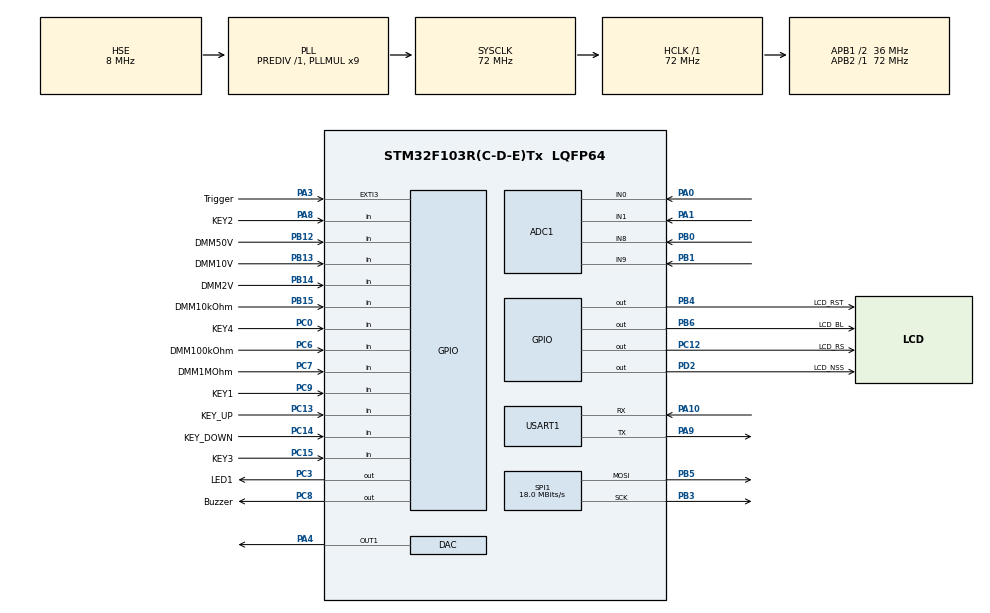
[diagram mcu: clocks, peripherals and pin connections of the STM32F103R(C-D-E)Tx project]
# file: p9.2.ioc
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ADC1.Channel-0\#ChannelRegularConversion=ADC_CHANNEL_1
ADC1.Channel-1\#ChannelInjectedConversion=ADC_CHANNEL_9
ADC1.Channel-2\#ChannelInjectedConversion=ADC_CHANNEL_VREFINT
ADC1.Channel-3\#ChannelInjectedConversion=ADC_CHANNEL_8
ADC1.Channel-4\#ChannelInjectedConversion=ADC_CHANNEL_0
ADC1.EnableInjectedConversion=ENABLE
ADC1.ExternalTrigConv=ADC_EXTERNALTRIGCONV_T3_TRGO
ADC1.ExternalTrigInjecConv=ADC_EXTERNALTRIGINJECCONV_T2_TRGO
ADC1.InjNumberOfConversion=4
ADC1.InjectedOffset-1\#ChannelInjectedConversion=0
ADC1.InjectedOffset-2\#ChannelInjectedConversion=0
ADC1.InjectedOffset-3\#ChannelInjectedConversion=0
ADC1.InjectedOffset-4\#ChannelInjectedConversion=0
ADC1.InjectedRank-1\#ChannelInjectedConversion=1
ADC1.InjectedRank-2\#ChannelInjectedConversion=2
ADC1.InjectedRank-3\#ChannelInjectedConversion=3
ADC1.InjectedRank-4\#ChannelInjectedConversion=4
ADC1.NbrOfConversionFlag=1
ADC1.Rank-0\#ChannelRegularConversion=1
ADC1.SamplingTime-0\#ChannelRegularConversion=ADC_SAMPLETIME_1CYCLE_5
ADC1.SamplingTime-1\#ChannelInjectedConversion=ADC_SAMPLETIME_1CYCLE_5
ADC1.SamplingTime-2\#ChannelInjectedConversion=ADC_SAMPLETIME_239CYCLES_5
ADC1.SamplingTime-3\#ChannelInjectedConversion=ADC_SAMPLETIME_1CYCLE_5
ADC1.SamplingTime-4\#ChannelInjectedConversion=ADC_SAMPLETIME_13CYCLES_5
ADC1.master=1
DAC.DAC_OutputBuffer=DAC_OUTPUTBUFFER_DISABLE
DAC.DAC_Trigger=DAC_TRIGGER_T5_TRGO
Dma.ADC1.1.Direction=DMA_PERIPH_TO_MEMORY
Dma.ADC1.1.Instance=DMA1_Channel1
Dma.ADC1.1.MemDataAlignment=DMA_MDATAALIGN_HALFWORD
Dma.ADC1.1.MemInc=DMA_MINC_ENABLE
Dma.ADC1.1.Mode=DMA_NORMAL
Dma.ADC1.1.PeriphDataAlignment=DMA_PDATAALIGN_HALFWORD
Dma.ADC1.1.PeriphInc=DMA_PINC_DISABLE
Dma.ADC1.1.Priority=DMA_PRIORITY_LOW
Dma.DAC_CH1.2.Direction=DMA_MEMORY_TO_PERIPH
Dma.DAC_CH1.2.Instance=DMA2_Channel3
Dma.DAC_CH1.2.MemDataAlignment=DMA_MDATAALIGN_HALFWORD
Dma.DAC_CH1.2.MemInc=DMA_MINC_ENABLE
Dma.DAC_CH1.2.Mode=DMA_CIRCULAR
Dma.DAC_CH1.2.PeriphDataAlignment=DMA_PDATAALIGN_HALFWORD
Dma.DAC_CH1.2.PeriphInc=DMA_PINC_DISABLE
Dma.DAC_CH1.2.Priority=DMA_PRIORITY_LOW
Dma.Request0=SPI1_TX
Dma.Request1=ADC1
Dma.Request2=DAC_CH1
Dma.SPI1_TX.0.Direction=DMA_MEMORY_TO_PERIPH
Dma.SPI1_TX.0.Instance=DMA1_Channel3
Dma.SPI1_TX.0.MemDataAlignment=DMA_MDATAALIGN_BYTE
Dma.SPI1_TX.0.MemInc=DMA_MINC_ENABLE
Dma.SPI1_TX.0.Mode=DMA_NORMAL
Dma.SPI1_TX.0.PeriphDataAlignment=DMA_PDATAALIGN_BYTE
Dma.SPI1_TX.0.PeriphInc=DMA_PINC_DISABLE
Dma.SPI1_TX.0.Priority=DMA_PRIORITY_LOW
Mcu.Family=STM32F1
Mcu.Name=STM32F103R(C-D-E)Tx
Mcu.Package=LQFP64
NVIC.ADC1_2_IRQn=true\:15\:0\:true\:false\:true\:true\:true\:true
NVIC.DMA1_Channel1_IRQn=true\:6\:0\:true\:false\:true\:false\:true\:true
NVIC.DMA1_Channel3_IRQn=true\:6\:0\:true\:false\:true\:false\:true\:true
NVIC.DMA2_Channel3_IRQn=true\:0\:0\:false\:false\:true\:false\:true\:true
NVIC.EXTI3_IRQn=true\:5\:0\:true\:false\:true\:true\:true\:true
NVIC.PriorityGroup=NVIC_PRIORITYGROUP_4
NVIC.TIM6_IRQn=true\:15\:0\:true\:false\:true\:false\:true\:true
NVIC.TimeBase=TIM6_IRQn
NVIC.TimeBaseIP=TIM6
PA0-WKUP.Signal=ADCx_IN0
PA1.Signal=ADCx_IN1
PA10.Mode=Asynchronous
PA10.Signal=USART1_RX
PA13.Mode=Serial_Wire
PA13.Signal=SYS_JTMS-SWDIO
PA14.Mode=Serial_Wire
PA14.Signal=SYS_JTCK-SWCLK
PA3.GPIO_Label=Trigger
PA3.Signal=GPXTI3
PA4.Signal=COMP_DAC1_group
PA8.GPIO_Label=KEY2
PA8.GPIO_PuPd=GPIO_PULLUP
PA8.Signal=GPIO_Input
PA9.Mode=Asynchronous
PA9.Signal=USART1_TX
PB0.Signal=ADCx_IN8
PB1.Signal=ADCx_IN9
PB12.GPIO_Label=DMM50V
PB12.GPIO_Mode=GPIO_MODE_INPUT
PB12.GPIO_PuPd=GPIO_PULLDOWN
PB12.Signal=GPIO_Input
PB13.GPIO_Label=DMM10V
PB13.GPIO_Mode=GPIO_MODE_INPUT
PB13.GPIO_PuPd=GPIO_PULLDOWN
PB13.Signal=GPIO_Input
PB14.GPIO_Label=DMM2V
PB14.GPIO_Mode=GPIO_MODE_INPUT
PB14.GPIO_PuPd=GPIO_PULLDOWN
PB14.Signal=GPIO_Input
PB15.GPIO_Label=DMM10kOhm
PB15.GPIO_Mode=GPIO_MODE_INPUT
PB15.GPIO_PuPd=GPIO_PULLDOWN
PB15.Signal=GPIO_Input
PB3.Mode=TX_Only_Simplex_Unidirect_Master
PB3.Signal=SPI1_SCK
PB4.GPIO_Label=LCD_RST
PB4.Signal=GPIO_Output
PB5.Mode=TX_Only_Simplex_Unidirect_Master
PB5.Signal=SPI1_MOSI
PB6.GPIO_Label=LCD_BL
PB6.Signal=GPIO_Output
PC0.GPIO_Label=KEY4
PC0.GPIO_PuPd=GPIO_PULLUP
PC0.Signal=GPIO_Input
PC12.GPIO_Label=LCD_RS
PC12.Signal=GPIO_Output
PC13-TAMPER-RTC.GPIO_Label=KEY_UP
PC13-TAMPER-RTC.GPIO_PuPd=GPIO_PULLUP
PC13-TAMPER-RTC.Signal=GPIO_Input
PC14-OSC32_IN.GPIO_Label=KEY_DOWN
PC14-OSC32_IN.GPIO_PuPd=GPIO_PULLUP
PC14-OSC32_IN.Signal=GPIO_Input
PC15-OSC32_OUT.GPIO_Label=KEY3
PC15-OSC32_OUT.GPIO_PuPd=GPIO_PULLUP
PC15-OSC32_OUT.Signal=GPIO_Input
PC3.GPIO_Label=LED1
PC3.Signal=GPIO_Output
PC6.GPIO_Label=DMM100kOhm
PC6.GPIO_Mode=GPIO_MODE_INPUT
PC6.GPIO_PuPd=GPIO_PULLDOWN
PC6.Signal=GPIO_Input
PC7.GPIO_Label=DMM1MOhm
PC7.GPIO_Mode=GPIO_MODE_INPUT
PC7.GPIO_PuPd=GPIO_PULLDOWN
PC7.Signal=GPIO_Input
PC8.GPIO_Label=Buzzer
PC8.Signal=GPIO_Output
PC9.GPIO_Label=KEY1
PC9.GPIO_PuPd=GPIO_PULLUP
PC9.Signal=GPIO_Input
PD0-OSC_IN.Mode=HSE-External-Oscillator
PD0-OSC_IN.Signal=RCC_OSC_IN
PD1-OSC_OUT.Mode=HSE-External-Oscillator
PD1-OSC_OUT.Signal=RCC_OSC_OUT
PD2.GPIO_Label=LCD_NSS
PD2.PinState=GPIO_PIN_SET
PD2.Signal=GPIO_Output
ProjectManager.HeapSize=0x200
ProjectManager.StackSize=0x400
ProjectManager.TargetToolchain=STM32CubeIDE
RCC.ADCPresc=RCC_ADCPCLK2_DIV6
RCC.AHBFreq_Value=72000000
RCC.APB1CLKDivider=RCC_HCLK_DIV2
RCC.APB1Freq_Value=36000000
RCC.APB1TimFreq_Value=72000000
RCC.APB2Freq_Value=72000000
RCC.APB2TimFreq_Value=72000000
RCC.HCLKFreq_Value=72000000
RCC.PLLMUL=RCC_PLL_MUL9
RCC.PLLSourceVirtual=RCC_PLLSOURCE_HSE
RCC.SYSCLKFreq_VALUE=72000000
RCC.SYSCLKSource=RCC_SYSCLKSOURCE_PLLCLK
RCC.USBFreq_Value=72000000
SH.ADCx_IN0.0=ADC1_IN0,IN0
SH.ADCx_IN1.0=ADC1_IN1,IN1
SH.ADCx_IN8.0=ADC1_IN8,IN8
SH.ADCx_IN9.0=ADC1_IN9,IN9
SH.COMP_DAC1_group.0=DAC_OUT1,DAC_OUT1
SPI1.BaudRatePrescaler=SPI_BAUDRATEPRESCALER_4
SPI1.CalculateBaudRate=18.0 MBits/s
SPI1.Direction=SPI_DIRECTION_2LINES
SPI1.Mode=SPI_MODE_MASTER
SPI1.VirtualType=VM_MASTER
TIM2.Period=999
TIM2.Prescaler=7199
TIM2.TIM_MasterOutputTrigger=TIM_TRGO_UPDATE
TIM3.AutoReloadPreload=TIM_AUTORELOAD_PRELOAD_ENABLE
TIM3.Period=561
TIM3.Prescaler=0
TIM3.TIM_MasterOutputTrigger=TIM_TRGO_UPDATE
TIM5.AutoReloadPreload=TIM_AUTORELOAD_PRELOAD_ENABLE
TIM5.Period=1
TIM5.Prescaler=71
TIM5.TIM_MasterOutputTrigger=TIM_TRGO_UPDATE
USART1.VirtualMode=VM_ASYNC
VP_ADC1_Vref_Input.Mode=IN-Vrefint
VP_SYS_VS_tim6.Mode=TIM6
VP_TIM2_VS_ClockSourceINT.Mode=Internal
VP_TIM3_VS_ClockSourceINT.Mode=Internal
VP_TIM5_VS_ClockSourceINT.Mode=Internal
board=custom

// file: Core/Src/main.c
/* USER CODE BEGIN Header */
/**
  ******************************************************************************
  * @file           : main.c
  * @brief          : Main program body
  ******************************************************************************
  * @attention
  *
  * Copyright (c) 2026 STMicroelectronics.
  * All rights reserved.
  *
  * This software is licensed under terms that can be found in the LICENSE file
  * in the root directory of this software component.
  * If no LICENSE file comes with this software, it is provided AS-IS.
  *
  ******************************************************************************
  */
/* USER CODE END Header */
#include "main.h"

/* USER CODE BEGIN Includes */
#include "FreeRTOS.h"
#include "task.h"
#include "key_task.h"
#include "buzzer_task.h"
#include "lcd_task.h"
#include "led_task.h"
#include "dmm.h"
#include "waveform_capture.h"
#include "waveform_generator.h"
/* USER CODE END Includes */

ADC_HandleTypeDef hadc1;
DMA_HandleTypeDef hdma_adc1;

DAC_HandleTypeDef hdac;
DMA_HandleTypeDef hdma_dac_ch1;

SPI_HandleTypeDef hspi1;
DMA_HandleTypeDef hdma_spi1_tx;

TIM_HandleTypeDef htim2;
TIM_HandleTypeDef htim3;
TIM_HandleTypeDef htim5;

UART_HandleTypeDef huart1;

void SystemClock_Config(void);
static void MX_GPIO_Init(void);
static void MX_DMA_Init(void);
static void MX_USART1_UART_Init(void);
static void MX_SPI1_Init(void);
static void MX_ADC1_Init(void);
static void MX_TIM2_Init(void);
static void MX_TIM3_Init(void);
static void MX_DAC_Init(void);
static void MX_TIM5_Init(void);

int main(void)
{

  /* MCU Configuration--------------------------------------------------------*/

  /* Reset of all peripherals, Initializes the Flash interface and the Systick. */
  HAL_Init();

  /* Configure the system clock */
  SystemClock_Config();

  /* Initialize all configured peripherals */
  MX_GPIO_Init();
  MX_DMA_Init();
  MX_USART1_UART_Init();
  MX_SPI1_Init();
  MX_ADC1_Init();
  MX_TIM2_Init();
  MX_TIM3_Init();
  MX_DAC_Init();
  MX_TIM5_Init();
  /* USER CODE BEGIN 2 */
  Buzzer_Init();
  vLCDTaskInit();
  vDMMInit();
  WaveformCapture_Init();
  WaveformGenerator_Init(); // 对波形发生器进行初始化

  xTaskCreate(vKeyTask, "Key", 128, NULL, 3, NULL);
  xTaskCreate(vBuzzerTask, "Buzzer", 128, NULL, 1, NULL);
  xTaskCreate(vLCDTask, "LCD", 256, NULL, 1, NULL);
  xTaskCreate(vWaveformTask, "Waveform", 128, NULL, 2, NULL);
  xTaskCreate(vLEDTask, "LED", 128, NULL, 0, NULL);
  vTaskStartScheduler();

  /* USER CODE END 2 */

  /* Infinite loop */
  while (1)
  {

  }
}

void SystemClock_Config(void)
{
  RCC_OscInitTypeDef RCC_OscInitStruct = {0};
  RCC_ClkInitTypeDef RCC_ClkInitStruct = {0};
  RCC_PeriphCLKInitTypeDef PeriphClkInit = {0};

  /** Initializes the RCC Oscillators according to the specified parameters
  * in the RCC_OscInitTypeDef structure.
  */
  RCC_OscInitStruct.OscillatorType = RCC_OSCILLATORTYPE_HSE;
  RCC_OscInitStruct.HSEState = RCC_HSE_ON;
  RCC_OscInitStruct.HSEPredivValue = RCC_HSE_PREDIV_DIV1;
  RCC_OscInitStruct.HSIState = RCC_HSI_ON;
  RCC_OscInitStruct.PLL.PLLState = RCC_PLL_ON;
  RCC_OscInitStruct.PLL.PLLSource = RCC_PLLSOURCE_HSE;
  RCC_OscInitStruct.PLL.PLLMUL = RCC_PLL_MUL9;
  if (HAL_RCC_OscConfig(&RCC_OscInitStruct) != HAL_OK)
  {
    Error_Handler();
  }

  /** Initializes the CPU, AHB and APB buses clocks
  */
  RCC_ClkInitStruct.ClockType = RCC_CLOCKTYPE_HCLK|RCC_CLOCKTYPE_SYSCLK
                              |RCC_CLOCKTYPE_PCLK1|RCC_CLOCKTYPE_PCLK2;
  RCC_ClkInitStruct.SYSCLKSource = RCC_SYSCLKSOURCE_PLLCLK;
  RCC_ClkInitStruct.AHBCLKDivider = RCC_SYSCLK_DIV1;
  RCC_ClkInitStruct.APB1CLKDivider = RCC_HCLK_DIV2;
  RCC_ClkInitStruct.APB2CLKDivider = RCC_HCLK_DIV1;

  if (HAL_RCC_ClockConfig(&RCC_ClkInitStruct, FLASH_LATENCY_2) != HAL_OK)
  {
    Error_Handler();
  }
  PeriphClkInit.PeriphClockSelection = RCC_PERIPHCLK_ADC;
  PeriphClkInit.AdcClockSelection = RCC_ADCPCLK2_DIV6;
  if (HAL_RCCEx_PeriphCLKConfig(&PeriphClkInit) != HAL_OK)
  {
    Error_Handler();
  }
}

static void MX_ADC1_Init(void)
{

  ADC_ChannelConfTypeDef sConfig = {0};
  ADC_InjectionConfTypeDef sConfigInjected = {0};

  /** Common config
  */
  hadc1.Instance = ADC1;
  hadc1.Init.ScanConvMode = ADC_SCAN_ENABLE;
  hadc1.Init.ContinuousConvMode = DISABLE;
  hadc1.Init.DiscontinuousConvMode = DISABLE;
  hadc1.Init.ExternalTrigConv = ADC_EXTERNALTRIGCONV_T3_TRGO;
  hadc1.Init.DataAlign = ADC_DATAALIGN_RIGHT;
  hadc1.Init.NbrOfConversion = 1;
  if (HAL_ADC_Init(&hadc1) != HAL_OK)
  {
    Error_Handler();
  }

  /** Configure Regular Channel
  */
  sConfig.Channel = ADC_CHANNEL_1;
  sConfig.Rank = ADC_REGULAR_RANK_1;
  sConfig.SamplingTime = ADC_SAMPLETIME_1CYCLE_5;
  if (HAL_ADC_ConfigChannel(&hadc1, &sConfig) != HAL_OK)
  {
    Error_Handler();
  }

  /** Configure Injected Channel
  */
  sConfigInjected.InjectedChannel = ADC_CHANNEL_9;
  sConfigInjected.InjectedRank = ADC_INJECTED_RANK_1;
  sConfigInjected.InjectedNbrOfConversion = 4;
  sConfigInjected.InjectedSamplingTime = ADC_SAMPLETIME_1CYCLE_5;
  sConfigInjected.ExternalTrigInjecConv = ADC_EXTERNALTRIGINJECCONV_T2_TRGO;
  sConfigInjected.AutoInjectedConv = DISABLE;
  sConfigInjected.InjectedDiscontinuousConvMode = DISABLE;
  sConfigInjected.InjectedOffset = 0;
  if (HAL_ADCEx_InjectedConfigChannel(&hadc1, &sConfigInjected) != HAL_OK)
  {
    Error_Handler();
  }

  /** Configure Injected Channel
  */
  sConfigInjected.InjectedChannel = ADC_CHANNEL_VREFINT;
  sConfigInjected.InjectedRank = ADC_INJECTED_RANK_2;
  sConfigInjected.InjectedSamplingTime = ADC_SAMPLETIME_239CYCLES_5;
  if (HAL_ADCEx_InjectedConfigChannel(&hadc1, &sConfigInjected) != HAL_OK)
  {
    Error_Handler();
  }

  /** Configure Injected Channel
  */
  sConfigInjected.InjectedChannel = ADC_CHANNEL_8;
  sConfigInjected.InjectedRank = ADC_INJECTED_RANK_3;
  sConfigInjected.InjectedSamplingTime = ADC_SAMPLETIME_1CYCLE_5;
  if (HAL_ADCEx_InjectedConfigChannel(&hadc1, &sConfigInjected) != HAL_OK)
  {
    Error_Handler();
  }

  /** Configure Injected Channel
  */
  sConfigInjected.InjectedChannel = ADC_CHANNEL_0;
  sConfigInjected.InjectedRank = ADC_INJECTED_RANK_4;
  sConfigInjected.InjectedSamplingTime = ADC_SAMPLETIME_13CYCLES_5;
  if (HAL_ADCEx_InjectedConfigChannel(&hadc1, &sConfigInjected) != HAL_OK)
  {
    Error_Handler();
  }

}

static void MX_DAC_Init(void)
{

  DAC_ChannelConfTypeDef sConfig = {0};

  /** DAC Initialization
  */
  hdac.Instance = DAC;
  if (HAL_DAC_Init(&hdac) != HAL_OK)
  {
    Error_Handler();
  }

  /** DAC channel OUT1 config
  */
  sConfig.DAC_Trigger = DAC_TRIGGER_T5_TRGO;
  sConfig.DAC_OutputBuffer = DAC_OUTPUTBUFFER_DISABLE;
  if (HAL_DAC_ConfigChannel(&hdac, &sConfig, DAC_CHANNEL_1) != HAL_OK)
  {
    Error_Handler();
  }

}

static void MX_SPI1_Init(void)
{

  /* SPI1 parameter configuration*/
  hspi1.Instance = SPI1;
  hspi1.Init.Mode = SPI_MODE_MASTER;
  hspi1.Init.Direction = SPI_DIRECTION_2LINES;
  hspi1.Init.DataSize = SPI_DATASIZE_8BIT;
  hspi1.Init.CLKPolarity = SPI_POLARITY_LOW;
  hspi1.Init.CLKPhase = SPI_PHASE_1EDGE;
  hspi1.Init.NSS = SPI_NSS_SOFT;
  hspi1.Init.BaudRatePrescaler = SPI_BAUDRATEPRESCALER_4;
  hspi1.Init.FirstBit = SPI_FIRSTBIT_MSB;
  hspi1.Init.TIMode = SPI_TIMODE_DISABLE;
  hspi1.Init.CRCCalculation = SPI_CRCCALCULATION_DISABLE;
  hspi1.Init.CRCPolynomial = 10;
  if (HAL_SPI_Init(&hspi1) != HAL_OK)
  {
    Error_Handler();
  }

}

static void MX_TIM2_Init(void)
{

  TIM_ClockConfigTypeDef sClockSourceConfig = {0};
  TIM_MasterConfigTypeDef sMasterConfig = {0};

  htim2.Instance = TIM2;
  htim2.Init.Prescaler = 7199;
  htim2.Init.CounterMode = TIM_COUNTERMODE_UP;
  htim2.Init.Period = 999;
  htim2.Init.ClockDivision = TIM_CLOCKDIVISION_DIV1;
  htim2.Init.AutoReloadPreload = TIM_AUTORELOAD_PRELOAD_DISABLE;
  if (HAL_TIM_Base_Init(&htim2) != HAL_OK)
  {
    Error_Handler();
  }
  sClockSourceConfig.ClockSource = TIM_CLOCKSOURCE_INTERNAL;
  if (HAL_TIM_ConfigClockSource(&htim2, &sClockSourceConfig) != HAL_OK)
  {
    Error_Handler();
  }
  sMasterConfig.MasterOutputTrigger = TIM_TRGO_UPDATE;
  sMasterConfig.MasterSlaveMode = TIM_MASTERSLAVEMODE_DISABLE;
  if (HAL_TIMEx_MasterConfigSynchronization(&htim2, &sMasterConfig) != HAL_OK)
  {
    Error_Handler();
  }

}

static void MX_TIM3_Init(void)
{

  TIM_ClockConfigTypeDef sClockSourceConfig = {0};
  TIM_MasterConfigTypeDef sMasterConfig = {0};

  htim3.Instance = TIM3;
  htim3.Init.Prescaler = 0;
  htim3.Init.CounterMode = TIM_COUNTERMODE_UP;
  htim3.Init.Period = 561;
  htim3.Init.ClockDivision = TIM_CLOCKDIVISION_DIV1;
  htim3.Init.AutoReloadPreload = TIM_AUTORELOAD_PRELOAD_ENABLE;
  if (HAL_TIM_Base_Init(&htim3) != HAL_OK)
  {
    Error_Handler();
  }
  sClockSourceConfig.ClockSource = TIM_CLOCKSOURCE_INTERNAL;
  if (HAL_TIM_ConfigClockSource(&htim3, &sClockSourceConfig) != HAL_OK)
  {
    Error_Handler();
  }
  sMasterConfig.MasterOutputTrigger = TIM_TRGO_UPDATE;
  sMasterConfig.MasterSlaveMode = TIM_MASTERSLAVEMODE_DISABLE;
  if (HAL_TIMEx_MasterConfigSynchronization(&htim3, &sMasterConfig) != HAL_OK)
  {
    Error_Handler();
  }

}

static void MX_TIM5_Init(void)
{

  TIM_ClockConfigTypeDef sClockSourceConfig = {0};
  TIM_MasterConfigTypeDef sMasterConfig = {0};

  htim5.Instance = TIM5;
  htim5.Init.Prescaler = 71;
  htim5.Init.CounterMode = TIM_COUNTERMODE_UP;
  htim5.Init.Period = 1;
  htim5.Init.ClockDivision = TIM_CLOCKDIVISION_DIV1;
  htim5.Init.AutoReloadPreload = TIM_AUTORELOAD_PRELOAD_ENABLE;
  if (HAL_TIM_Base_Init(&htim5) != HAL_OK)
  {
    Error_Handler();
  }
  sClockSourceConfig.ClockSource = TIM_CLOCKSOURCE_INTERNAL;
  if (HAL_TIM_ConfigClockSource(&htim5, &sClockSourceConfig) != HAL_OK)
  {
    Error_Handler();
  }
  sMasterConfig.MasterOutputTrigger = TIM_TRGO_UPDATE;
  sMasterConfig.MasterSlaveMode = TIM_MASTERSLAVEMODE_DISABLE;
  if (HAL_TIMEx_MasterConfigSynchronization(&htim5, &sMasterConfig) != HAL_OK)
  {
    Error_Handler();
  }

}

static void MX_USART1_UART_Init(void)
{

  huart1.Instance = USART1;
  huart1.Init.BaudRate = 115200;
  huart1.Init.WordLength = UART_WORDLENGTH_8B;
  huart1.Init.StopBits = UART_STOPBITS_1;
  huart1.Init.Parity = UART_PARITY_NONE;
  huart1.Init.Mode = UART_MODE_TX_RX;
  huart1.Init.HwFlowCtl = UART_HWCONTROL_NONE;
  huart1.Init.OverSampling = UART_OVERSAMPLING_16;
  if (HAL_UART_Init(&huart1) != HAL_OK)
  {
    Error_Handler();
  }

}

static void MX_DMA_Init(void)
{

  /* DMA controller clock enable */
  __HAL_RCC_DMA1_CLK_ENABLE();
  __HAL_RCC_DMA2_CLK_ENABLE();

  /* DMA interrupt init */
  /* DMA1_Channel1_IRQn interrupt configuration */
  HAL_NVIC_SetPriority(DMA1_Channel1_IRQn, 6, 0);
  HAL_NVIC_EnableIRQ(DMA1_Channel1_IRQn);
  /* DMA1_Channel3_IRQn interrupt configuration */
  HAL_NVIC_SetPriority(DMA1_Channel3_IRQn, 6, 0);
  HAL_NVIC_EnableIRQ(DMA1_Channel3_IRQn);
  /* DMA2_Channel3_IRQn interrupt configuration */
  HAL_NVIC_SetPriority(DMA2_Channel3_IRQn, 0, 0);
  HAL_NVIC_EnableIRQ(DMA2_Channel3_IRQn);

}

static void MX_GPIO_Init(void)
{
  GPIO_InitTypeDef GPIO_InitStruct = {0};

  /* GPIO Ports Clock Enable */
  __HAL_RCC_GPIOC_CLK_ENABLE();
  __HAL_RCC_GPIOD_CLK_ENABLE();
  __HAL_RCC_GPIOA_CLK_ENABLE();
  __HAL_RCC_GPIOB_CLK_ENABLE();

  /*Configure GPIO pin Output Level */
  HAL_GPIO_WritePin(GPIOC, LED1_Pin|Buzzer_Pin|LCD_RS_Pin, GPIO_PIN_RESET);

  /*Configure GPIO pin Output Level */
  HAL_GPIO_WritePin(LCD_NSS_GPIO_Port, LCD_NSS_Pin, GPIO_PIN_SET);

  /*Configure GPIO pin Output Level */
  HAL_GPIO_WritePin(GPIOB, LCD_RST_Pin|LCD_BL_Pin, GPIO_PIN_RESET);

  /*Configure GPIO pins : KEY_UP_Pin KEY_DOWN_Pin KEY3_Pin KEY4_Pin
                           KEY1_Pin */
  GPIO_InitStruct.Pin = KEY_UP_Pin|KEY_DOWN_Pin|KEY3_Pin|KEY4_Pin
                          |KEY1_Pin;
  GPIO_InitStruct.Mode = GPIO_MODE_INPUT;
  GPIO_InitStruct.Pull = GPIO_PULLUP;
  HAL_GPIO_Init(GPIOC, &GPIO_InitStruct);

  /*Configure GPIO pins : LED1_Pin Buzzer_Pin LCD_RS_Pin */
  GPIO_InitStruct.Pin = LED1_Pin|Buzzer_Pin|LCD_RS_Pin;
  GPIO_InitStruct.Mode = GPIO_MODE_OUTPUT_PP;
  GPIO_InitStruct.Pull = GPIO_NOPULL;
  GPIO_InitStruct.Speed = GPIO_SPEED_FREQ_LOW;
  HAL_GPIO_Init(GPIOC, &GPIO_InitStruct);

  /*Configure GPIO pin : Trigger_Pin */
  GPIO_InitStruct.Pin = Trigger_Pin;
  GPIO_InitStruct.Mode = GPIO_MODE_IT_RISING;
  GPIO_InitStruct.Pull = GPIO_NOPULL;
  HAL_GPIO_Init(Trigger_GPIO_Port, &GPIO_InitStruct);

  /*Configure GPIO pins : DMM50V_Pin DMM10V_Pin DMM2V_Pin DMM10kOhm_Pin */
  GPIO_InitStruct.Pin = DMM50V_Pin|DMM10V_Pin|DMM2V_Pin|DMM10kOhm_Pin;
  GPIO_InitStruct.Mode = GPIO_MODE_INPUT;
  GPIO_InitStruct.Pull = GPIO_PULLDOWN;
  HAL_GPIO_Init(GPIOB, &GPIO_InitStruct);

  /*Configure GPIO pins : DMM100kOhm_Pin DMM1MOhm_Pin */
  GPIO_InitStruct.Pin = DMM100kOhm_Pin|DMM1MOhm_Pin;
  GPIO_InitStruct.Mode = GPIO_MODE_INPUT;
  GPIO_InitStruct.Pull = GPIO_PULLDOWN;
  HAL_GPIO_Init(GPIOC, &GPIO_InitStruct);

  /*Configure GPIO pin : KEY2_Pin */
  GPIO_InitStruct.Pin = KEY2_Pin;
  GPIO_InitStruct.Mode = GPIO_MODE_INPUT;
  GPIO_InitStruct.Pull = GPIO_PULLUP;
  HAL_GPIO_Init(KEY2_GPIO_Port, &GPIO_InitStruct);

  /*Configure GPIO pin : LCD_NSS_Pin */
  GPIO_InitStruct.Pin = LCD_NSS_Pin;
  GPIO_InitStruct.Mode = GPIO_MODE_OUTPUT_PP;
  GPIO_InitStruct.Pull = GPIO_NOPULL;
  GPIO_InitStruct.Speed = GPIO_SPEED_FREQ_LOW;
  HAL_GPIO_Init(LCD_NSS_GPIO_Port, &GPIO_InitStruct);

  /*Configure GPIO pins : LCD_RST_Pin LCD_BL_Pin */
  GPIO_InitStruct.Pin = LCD_RST_Pin|LCD_BL_Pin;
  GPIO_InitStruct.Mode = GPIO_MODE_OUTPUT_PP;
  GPIO_InitStruct.Pull = GPIO_NOPULL;
  GPIO_InitStruct.Speed = GPIO_SPEED_FREQ_LOW;
  HAL_GPIO_Init(GPIOB, &GPIO_InitStruct);

  /* EXTI interrupt init*/
  HAL_NVIC_SetPriority(EXTI3_IRQn, 5, 0);
  HAL_NVIC_EnableIRQ(EXTI3_IRQn);

}

/* USER CODE BEGIN 4 */

/**
  * @brief  FreeRTOS 栈溢出钩子（需要 configCHECK_FOR_STACK_OVERFLOW = 2）
  * @param  xTask       溢出任务的任务句柄
  * @param  pcTaskName  溢出任务的名称
  * @note   出错的任务名保存在 g_stackOverflowTaskName 中，
  *         在线调试时可以直接在 Watch 窗口查看是哪个任务爆栈。
  */
volatile char *g_stackOverflowTaskName = NULL;

void vApplicationStackOverflowHook(TaskHandle_t xTask, char *pcTaskName)
{
  (void)xTask;
  g_stackOverflowTaskName = pcTaskName;

  taskDISABLE_INTERRUPTS();
  for (;;)
  {
  }
}

/**
  * @brief  FreeRTOS 堆分配失败钩子（需要 configUSE_MALLOC_FAILED_HOOK = 1）
  * @note   触发说明 configTOTAL_HEAP_SIZE 不够用，
  *         或运行期间反复创建/删除对象造成堆碎片。
  */
void vApplicationMallocFailedHook(void)
{
  taskDISABLE_INTERRUPTS();
  for (;;)
  {
  }
}

/* USER CODE END 4 */

void HAL_TIM_PeriodElapsedCallback(TIM_HandleTypeDef *htim)
{
  if (htim->Instance == TIM6)
  {
    HAL_IncTick();
  }
}

void Error_Handler(void)
{
  __disable_irq();
  while (1)
  {
  }
}
